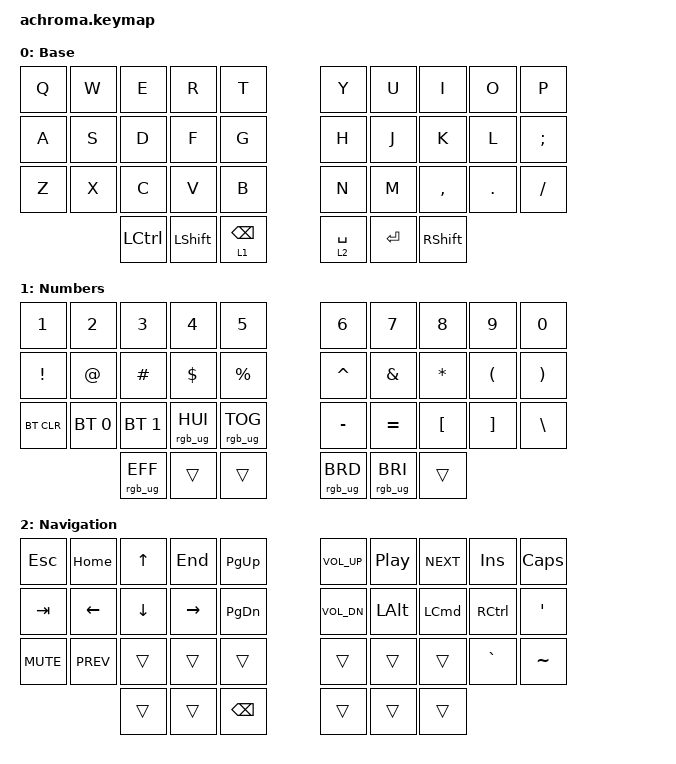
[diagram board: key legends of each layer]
#include <behaviors.dtsi>
#include <dt-bindings/zmk/keys.h>
#include <dt-bindings/zmk/bt.h>
#include <dt-bindings/zmk/outputs.h>
#include <dt-bindings/zmk/rgb.h>

/ {
    behaviors {
        // Layer-tap that switches to the layer as soon as you press and release another key
        // while holding it (so a quick "hold + tap" works), and types the tap key otherwise.
        lt_b: layer_tap_balanced {
            compatible = "zmk,behavior-hold-tap";
            #binding-cells = <2>;
            flavor = "balanced";
            tapping-term-ms = <200>;
            bindings = <&mo>, <&kp>;
        };
    };

    keymap {
        compatible = "zmk,keymap";

        // Layer 0: QWERTY Base
        default_layer {
            display-name = "Base";
            bindings = <
                &kp Q       &kp W       &kp E       &kp R       &kp T               &kp Y       &kp U       &kp I       &kp O       &kp P
                &kp A       &kp S       &kp D       &kp F       &kp G               &kp H       &kp J       &kp K       &kp L       &kp SEMI
                &kp Z       &kp X       &kp C       &kp V       &kp B               &kp N       &kp M       &kp COMMA   &kp DOT     &kp FSLH
                                        &kp LCTRL   &kp LSHIFT  &lt_b 1 BSPC         &lt_b 2 SPACE  &kp ENTER   &kp RSHIFT
            >;
        };

        // Layer 1: Numbers, Symbols, and RGB Controls
        //   bottom row: 4th key = next color, 5th key = LEDs on/off; left outer thumb = next effect (rainbow modes)
        lower_layer {
            display-name = "Numbers";
            bindings = <
                &kp N1       &kp N2       &kp N3       &kp N4       &kp N5              &kp N6       &kp N7       &kp N8       &kp N9       &kp N0
                &kp EXCL     &kp AT       &kp HASH     &kp DLLR     &kp PRCNT           &kp CARET    &kp AMPS     &kp ASTRK    &kp LPAR     &kp RPAR
                &bt BT_CLR   &bt BT_SEL 0 &bt BT_SEL 1 &rgb_ug RGB_HUI &rgb_ug RGB_TOG       &kp MINUS    &kp EQUAL    &kp LBKT     &kp RBKT     &kp BSLH
                                          &rgb_ug RGB_EFF  &trans          &trans        &rgb_ug RGB_BRD  &rgb_ug RGB_BRI  &trans
            >;
        };

        // Layer 2: Navigation and Editing
        raise_layer {
            display-name = "Navigation";
            bindings = <
                &kp ESC       &kp HOME      &kp UP        &kp END       &kp PG_UP     &kp C_VOL_UP  &kp C_PP     &kp C_NEXT   &kp INS      &kp CAPS
                &kp TAB       &kp LEFT      &kp DOWN      &kp RIGHT     &kp PG_DN     &kp C_VOL_DN  &kp LALT     &kp LCMD     &kp RCTRL    &kp SQT
                &kp C_MUTE    &kp C_PREV    &trans        &trans        &trans        &trans        &trans       &trans       &kp GRAVE    &kp TILDE
                                            &trans        &trans        &kp BSPC      &trans        &trans       &trans
            >;
        };
    };
};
